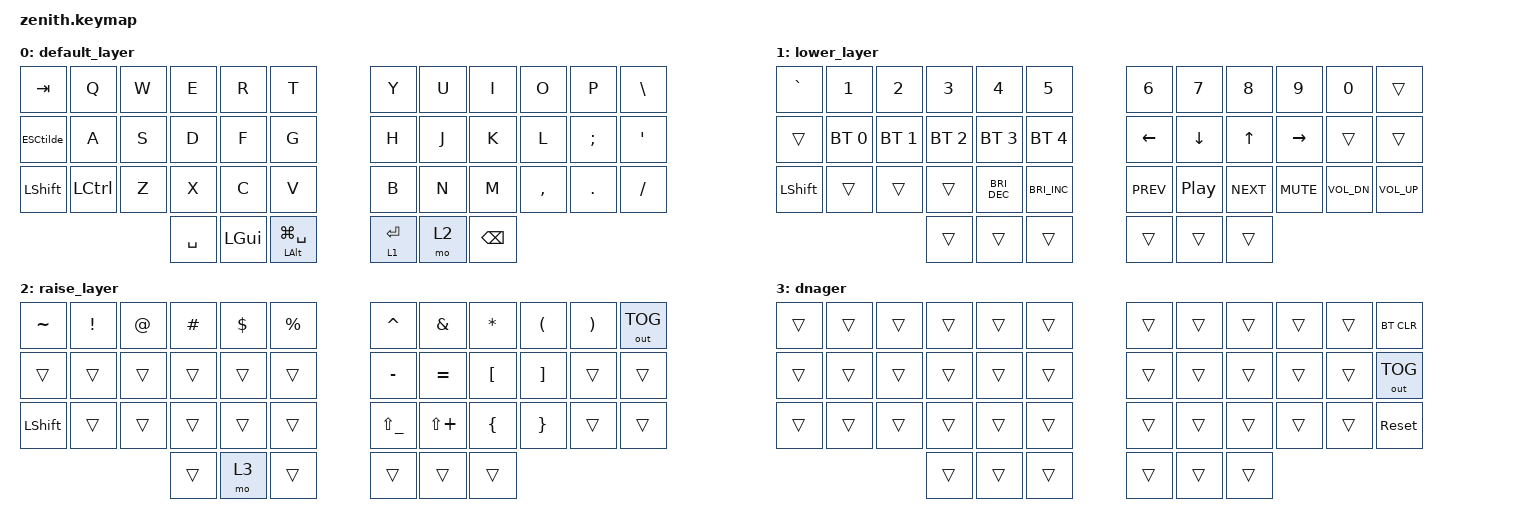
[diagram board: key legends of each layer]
/*
 * Copyright (c) 2020 The ZMK Contributors
 *
 * SPDX-License-Identifier: MIT
 */

#include <behaviors.dtsi>
#include <dt-bindings/zmk/bt.h>
#include <dt-bindings/zmk/keys.h>
#include <dt-bindings/zmk/outputs.h>

/ {
    behaviors {
        ESCtilde: ESCtilde {
            compatible = "zmk,behavior-mod-morph";
            label = "ESCTILDE";
            bindings = <&kp ESC>, <&kp LG(GRAVE)>;

            #binding-cells = <0>;
            mods = <(MOD_LGUI)>;
        };
    };

    keymap {
        compatible = "zmk,keymap";

        default_layer {
            // -----------------------------------------------------------------------------------------
            // |  TAB |  Q  |  W  |  E  |  R  |  T  |   |  Y  |  U   |  I  |  O  |  P  | BKSP |
            // | CTRL |  A  |  S  |  D  |  F  |  G  |   |  H  |  J   |  K  |  L  |  ;  |  '   |
            // | SHFT |  Z  |  X  |  C  |  V  |  B  |   |  N  |  M   |  ,  |  .  |  /  | ESC  |
            // Thumb keys, from left to right across both hands:
            // | Space | Command | Option / Cmd+Space |   | Enter / Layer 1 | Layer 2 | Backspace |

            bindings = <
&kp TAB    &kp Q             &kp W  &kp E         &kp R      &kp T                     &kp Y      &kp U          &kp I  &kp O      &kp P       &kp BACKSLASH
&ESCtilde  &kp A             &kp S  &kp D         &kp F      &kp G                     &kp H      &kp J          &kp K  &kp L      &kp SEMI    &kp SQT
&kp LSHFT  &kp LEFT_CONTROL  &kp Z  &kp X         &kp C      &kp V                     &kp B      &kp N          &kp M  &kp COMMA  &kp PERIOD  &kp SLASH
                                    &kp SPACE  &kp LEFT_GUI  &mt LEFT_ALT LG(SPACE)    &lt 1 RET  &mo 2  &kp BACKSPACE
            >;
        };

        lower_layer {
            // -----------------------------------------------------------------------------------------
            // |  TAB |  1  |  2  |  3  |  4  |  5  |   |  6  |  7  |  8  |  9  |  0  | BKSP |
            // | BTCLR| BT1 | BT2 | BT3 | BT4 | BT5 |   | LFT | DWN |  UP | RGT |     |      |
            // | SHFT |     |     |     |     |     |   |     |     |     |     |     |      |
            //                    | GUI |     | SPC |   | ENT |     | ALT |

            bindings = <
&kp GRAVE  &kp N1        &kp N2        &kp N3        &kp N4         &kp N5           &kp N6      &kp N7            &kp N8      &kp N9      &kp N0        &trans
&trans     &bt BT_SEL 0  &bt BT_SEL 1  &bt BT_SEL 2  &bt BT_SEL 3   &bt BT_SEL 4     &kp LEFT    &kp DOWN          &kp UP      &kp RIGHT   &trans        &trans
&kp LSHFT  &trans        &trans        &trans        &kp C_BRI_DEC  &kp C_BRI_INC    &kp C_PREV  &kp C_PLAY_PAUSE  &kp C_NEXT  &kp C_MUTE  &kp C_VOL_DN  &kp C_VOL_UP
                                       &trans        &trans         &trans           &trans      &trans            &trans
            >;
        };

        raise_layer {
            // -----------------------------------------------------------------------------------------
            // |  TAB |  !  |  @  |  #  |  $  |  %  |   |  ^  |  &  |  *  |  (  |  )  | BKSP |
            // | CTRL |     |     |     |     |     |   |  -  |  =  |  [  |  ]  |  \  |  `   |
            // | SHFT |     |     |     |     |     |   |  _  |  +  |  {  |  }  | "|" |  ~   |
            //                    | GUI |     | SPC |   | ENT |     | ALT |

            bindings = <
&kp TILDE  &kp EXCL  &kp AT  &kp HASH  &kp DLLR  &kp PRCNT    &kp CARET      &kp AMPS      &kp ASTRK         &kp LPAR           &kp RPAR  &out OUT_TOG
&trans     &trans    &trans  &trans    &trans    &trans       &kp MINUS      &kp EQUAL     &kp LEFT_BRACKET  &kp RIGHT_BRACKET  &trans    &trans
&kp LSHFT  &trans    &trans  &trans    &trans    &trans       &kp LS(UNDER)  &kp LS(PLUS)  &kp LEFT_BRACE    &kp RIGHT_BRACE    &trans    &trans
                             &trans    &mo 3     &trans       &trans         &trans        &trans
            >;
        };

        dnager {
            bindings = <
&trans  &trans  &trans  &trans  &trans  &trans    &trans  &trans  &trans  &trans  &trans  &bt BT_CLR
&trans  &trans  &trans  &trans  &trans  &trans    &trans  &trans  &trans  &trans  &trans  &out OUT_TOG
&trans  &trans  &trans  &trans  &trans  &trans    &trans  &trans  &trans  &trans  &trans  &sys_reset
                        &trans  &trans  &trans    &trans  &trans  &trans
            >;
        };
    };
};
